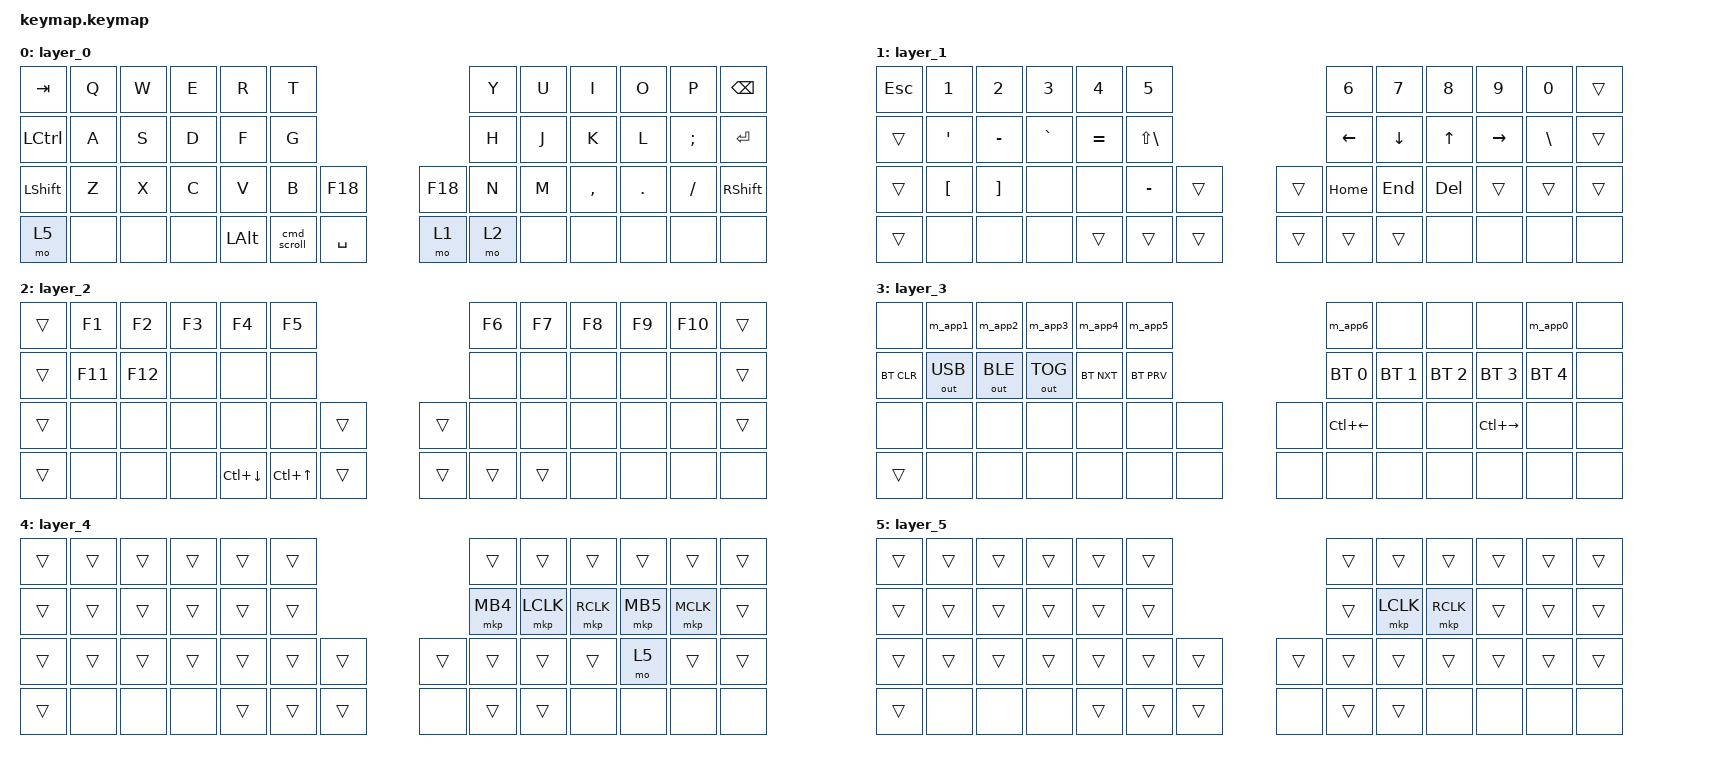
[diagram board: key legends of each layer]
/*
 * torabo-tsuki LP M キーマップ（Cornix LP 移植版・M 専用）
 *
 * 物理レイアウトを M に固定（dtsi の chosen で設定）。
 * バインディングは M の transform に直接対応する 52 キー (4行 × 14列)。
 *
 *   Line 1 (bindings 0-11)   : Q行          12 keys
 *   Line 2 (bindings 12-23)  : A行          12 keys
 *   Line 3 (bindings 24-37)  : Z行 + 内側親指 14 keys (中央2 = 内側親指)
 *   Line 4 (bindings 38-51)  : 親指row     14 keys (中央2 = 内側親指)
 *
 * 親指配置 (Cornix 互換):
 *   左 thumb cluster : 28(LALT) 29(LGUI) 30(SPACE)  ※ 30 が内側
 *   右 thumb cluster : 31(NO)  32(MO1) 33(MO2)      ※ 31 が内側 (トラックボールで省略)
 *   外側下段は全て NO
 *
 * レイヤー:
 *   0: ベース
 *   1: 数字・記号・矢印 (右親指 MO(1))
 *   2: F1-F12 (右親指 MO(2))
 *   3: アプリ切替マクロ + BT/OUT制御 (MO(1)+MO(2) で起動, conditional_layer)
 *   4: マウスレイヤー (トラックボール動作で自動起動, prior-idle 付き)
 *   5: スクロールモード (binding 38 hold = 純scroll / ⌘ hold = Cmd+scroll でズーム等)
 *
 * Layer 4 自動起動の誤作動対策:
 *   zip_temp_layer に require-prior-idle-ms=300 を設定
 *
 * Cmd (⌘) + ball = scroll:
 *   LGUI 位置 (binding 43) を custom macro 'cmd_scroll' に置換。
 *   押すと LGUI 送信 + Layer 5 起動 → ball 動作で Cmd+scroll (Mac でズーム等)。
 *   Cmd+click も維持: Layer 5 に LCLK/RCLK を持たせる。
 */

#include <behaviors.dtsi>
#include <dt-bindings/zmk/bt.h>
#include <dt-bindings/zmk/keys.h>
#include <dt-bindings/zmk/outputs.h>
#include <dt-bindings/zmk/pointing.h>
#include <input/processors.dtsi>
#include <dt-bindings/zmk/input_transform.h>
#include <mouse-gesture.dtsi>
#include <zephyr/dt-bindings/input/input-event-codes.h>

/ {
    // トラックボール動作時に Layer 4 (マウス) を 500ms 自動起動
    // タイムアウト中に再度動作があると延長される
};

// zip_temp_layer の挙動カスタマイズ
//   require-prior-idle-ms = 500:
//     最後のキー入力から 500ms 経過しないと Layer 4 を起動しない
//     → タイピング中のボール接触による意図しない自動起動を防ぐ。
//     300ms では 'kore' 等のタイピング途中に Layer 4 起動 + 後続 K/O が
//     RCLK/Desktop を暴発する問題があったため 500ms に延長。
//   excluded-positions:
//     これらのキー位置を押しても Layer 4 を解除しない
//     → マウス系キー (A行クリック) のみ維持。
//     対象: 18(H/MB4) 19(J/LCLK) 20(K/RCLK) 21(L/MB5) 22(;/MCLK)
//           38(MO5/scroll 起動) 43(LGUI/cmd_scroll 中も Layer 4 維持)
//     旧: 7,8,9 (U/I/O = MC/AppWin/Desktop) も含めていたが、
//         ジェスチャ機能と MO(2)+⌘/Option コードで代替したため Layer 4 から削除済。
//         excluded から外して、Q行は通常タイピングと完全共存。
&zip_temp_layer {
    require-prior-idle-ms = <500>;
    excluded-positions = <18 19 20 21 22 35 38 43>;
};

&pointing_listener {
    // 通常時の処理:
    //   1. X/Y 反転補正 (右側マウント時の物理向き調整)
    //   2. zip_mouse_gesture: K+L combo の hold で gesture 認識
    //      activation 未起動時は pass-through なので通常マウス動作に影響なし
    //   3. トラックボール動作で Layer 4 を 800ms 自動起動 (prior-idle 500ms 適用済)
    //     1500ms → 500ms → 800ms: 500ms だとボール停止後クリック (J) が間に合わず
    //     通常 J が入力される問題が発生したため 800ms に延長。
    //     prior-idle 500ms がキー→ボール方向を守るため 'kore' 暴発は再発しない想定。
    //     トリプルクリックも 500ms 以内に 3 連打で成立。
    //     prior-idle = excluded-positions の組み合わせで、
    //     - タイピング → ボール: 500ms 待つと反応 (誤起動なし)
    //     - ボール → タイピング: 800ms 待てば全文字キー正常
    input-processors =
        <&zip_xy_transform (INPUT_TRANSFORM_X_INVERT | INPUT_TRANSFORM_Y_INVERT)>,
        <&zip_mouse_gesture>,
        <&zip_temp_layer 4 800>;

    // Layer 5 (scroll mode) アクティブ時のオーバーライド処理:
    // - スクロール速度を 1/32 に減速
    //   (CPI 1216 を相殺してスクロール感を CPI 608 + 1/16 と同等に維持)
    // - XY 座標を scroll wheel イベントに変換
    scroller {
        layers = <5>;
        input-processors =
            <&zip_xy_scaler 1 32>,
            <&zip_xy_to_scroll_mapper>;
    };
};

// zmk-mouse-gesture 設定:
//   起動方法: K+L combo (combo_eisu) の hold で gesture 認識
//     combo bindings = &mouse_gesture_kp 0 LANGUAGE_2:
//       short tap → 英数切替 (LANGUAGE_2) ※既存挙動維持
//       hold      → mouse_gesture activate (ジェスチャモード)
//     - combo は両キー同時押し (50ms 以内) 必須なので単独 K/L には影響なし
//     - hold-tap ラグは combo 発火後にのみ発生、通常タイピングへの影響ゼロ
//   enable-eager-mode: 単方向パターン (UP/DOWN/LEFT/RIGHT) は即発火、
//     複合パターン (DOWN+RIGHT 等) は idle-timeout 経過後に判定
//   stroke-size 150: roBa 実績値
&mouse_gesture_kp {
    tapping-term-ms = <150>;
    flavor = "tap-preferred";
};

&zip_mouse_gesture {
    stroke-size = <200>;
    idle-timeout-ms = <150>;
    gesture-cooldown-ms = <500>;
    enable-eager-mode;

    // 基本3方向: Magic Trackpad ライクな OS 制御
    //   (右は意図的に未割当 — 用途未定のため次回検討)
    gesture_up {
        pattern = <GESTURE_UP>;
        bindings = <&kp LC(UP)>;         // Mission Control
    };
    gesture_down {
        pattern = <GESTURE_DOWN>;
        bindings = <&kp F11>;            // デスクトップ表示 (Show Desktop)
    };
    gesture_left {
        pattern = <GESTURE_LEFT>;
        bindings = <&kp LC(DOWN)>;       // App Exposé (現アプリ全ウィンドウ)
    };

    // 2連ストローク: ブラウザ操作
    //   ↓ から左右 = 履歴移動 (戻る/進む)
    //   ↑ から左右 = タブ数の操作 (開く/閉じる)
    //   ※ Layer 4 の H=MB4(戻る) / L=MB5(進む) と共存。慣れた方を使う想定
    gesture_back {
        pattern = <GESTURE_DOWN GESTURE_LEFT>;
        bindings = <&kp LG(LBKT)>;       // ⌘[ ブラウザ「戻る」
    };
    gesture_forward {
        pattern = <GESTURE_DOWN GESTURE_RIGHT>;
        bindings = <&kp LG(RBKT)>;       // ⌘] ブラウザ「進む」
    };
    gesture_new_tab {
        pattern = <GESTURE_UP GESTURE_RIGHT>;
        bindings = <&kp LG(T)>;          // ⌘T 新規タブ
    };
    gesture_close_tab {
        pattern = <GESTURE_UP GESTURE_LEFT>;
        bindings = <&kp LG(W)>;          // ⌘W タブ閉じる
    };
};

/ {
    macros {
        // 左親指 LGUI 位置 (binding 43) 用: Cmd を送信しながら Layer 5 (scroll) を起動。
        // 通常の Cmd 動作 (Cmd+T 等) は維持しつつ、ball を動かすと scroll になる。
        cmd_scroll: cmd_scroll {
            compatible = "zmk,behavior-macro";
            #binding-cells = <0>;
            bindings =
                <&macro_press &kp LGUI &mo 5>,
                <&macro_pause_for_release>,
                <&macro_release &kp LGUI &mo 5>;
        };
        m_app0: macro_app0 {
            compatible = "zmk,behavior-macro";
            #binding-cells = <0>;
            bindings = <&macro_press &kp LGUI &kp LALT>, <&macro_tap &kp N0>, <&macro_release &kp LALT &kp LGUI>;
        };
        m_app1: macro_app1 {
            compatible = "zmk,behavior-macro";
            #binding-cells = <0>;
            bindings = <&macro_press &kp LGUI &kp LALT>, <&macro_tap &kp N1>, <&macro_release &kp LALT &kp LGUI>;
        };
        m_app2: macro_app2 {
            compatible = "zmk,behavior-macro";
            #binding-cells = <0>;
            bindings = <&macro_press &kp LGUI &kp LALT>, <&macro_tap &kp N2>, <&macro_release &kp LALT &kp LGUI>;
        };
        m_app3: macro_app3 {
            compatible = "zmk,behavior-macro";
            #binding-cells = <0>;
            bindings = <&macro_press &kp LGUI &kp LALT>, <&macro_tap &kp N3>, <&macro_release &kp LALT &kp LGUI>;
        };
        m_app4: macro_app4 {
            compatible = "zmk,behavior-macro";
            #binding-cells = <0>;
            bindings = <&macro_press &kp LGUI &kp LALT>, <&macro_tap &kp N4>, <&macro_release &kp LALT &kp LGUI>;
        };
        m_app5: macro_app5 {
            compatible = "zmk,behavior-macro";
            #binding-cells = <0>;
            bindings = <&macro_press &kp LGUI &kp LALT>, <&macro_tap &kp N5>, <&macro_release &kp LALT &kp LGUI>;
        };
        m_app6: macro_app6 {
            compatible = "zmk,behavior-macro";
            #binding-cells = <0>;
            bindings = <&macro_press &kp LGUI &kp LALT>, <&macro_tap &kp N6>, <&macro_release &kp LALT &kp LGUI>;
        };
    };

    combos {
        compatible = "zmk,combos";

        combo_hash {
            timeout-ms = <50>;
            key-positions = <14 15>;  // S + D
            bindings = <&kp LS(N3)>;
            layers = <0>;
        };
        combo_asterisk {
            timeout-ms = <50>;
            key-positions = <15 16>;  // D + F
            bindings = <&kp LS(N8)>;
            layers = <0>;
        };
        // IME 切替コンボは Layer 4 (mouse) でも有効化:
        //   マウス操作直後は Layer 4 が 1500ms 残るが、その間に
        //   IME 切替したいケースが多い (クリック → 入力する文字判断 → 切替)
        combo_kana {
            timeout-ms = <50>;
            key-positions = <19 20>;  // J + K
            bindings = <&kp LANGUAGE_1>;
            layers = <0 4>;
        };
        // K+L combo: tap → 英数切替 (LANGUAGE_2) / hold → ジェスチャモード
        //   &mouse_gesture_kp は hold-tap behavior (<&mouse_gesture>, <&kp>)
        //   short tap で LANGUAGE_2 (英数切替 既存挙動)、long hold で gesture activate
        //   require-prior-idle-ms = 150: 直前のキー入力から 150ms 経たないと combo 認識しない
        //     → タイピング流の中での偶発認識 (Mission Control 暴発の原因) を抑止
        combo_eisu {
            timeout-ms = <50>;
            require-prior-idle-ms = <150>;
            key-positions = <20 21>;  // K + L
            bindings = <&mouse_gesture_kp 0 LANGUAGE_2>;
            layers = <0 4>;
        };
    };

    conditional_layers {
        compatible = "zmk,conditional-layers";
        tri_layer {
            if-layers = <1 2>;
            then-layer = <3>;
        };
    };

    keymap {
        compatible = "zmk,keymap";

        // ========== Layer 0: ベース ==========
        layer_0 {
            bindings = <
// Q行 (0-11): TAB Q W E R T | Y U I O P BSPC
&kp TAB    &kp Q      &kp W      &kp E      &kp R      &kp T                                                      &kp Y      &kp U      &kp I      &kp O      &kp P      &kp BSPC
// A行 (12-23): LCTRL A S D F G | H J K L ; ENTER
&kp LCTRL  &kp A      &kp S      &kp D      &kp F      &kp G                                                      &kp H      &kp J      &kp K      &kp L      &kp SEMI   &kp ENTER
// Z行 (24-37): LSHFT Z X C V B [内親指 30/31=F18] N M , . / RSHFT
//   30 (左内側親指) / 31 (右内側親指) = F18 = Aqua Voice の音声入力キー（v44〜）
//     ※ どちらの親指でも押せるよう左右とも同じキーにした
//     ※ 旧 v41: 30=Ctrl+→ / 31=Ctrl+← のデスクトップ切替。使わないため転用。
//        デスクトップ切替は Layer 3 の N / . に残っている (機能損失なし)
&kp LSHFT  &kp Z      &kp X      &kp C      &kp V      &kp B      &kp F18                    &kp F18            &kp N      &kp M      &kp COMMA  &kp DOT    &kp FSLH   &kp RSHFT
// 親指row (38-51): MO(5) NO×3 LALT cmd_scroll SPACE | MO(1) MO(2) NO×5
//   38 = 左下最外側 = MO(5) 純スクロール起動 (Cmd 無し)
//     → FigJam パン操作・ブラウザ縦スクロール等、Cmd+scroll=ズーム を避けたい場面用
//   43 = LGUI 位置 = cmd_scroll (LGUI 送信 + Layer 5 起動の合体 behavior)
//     → Cmd+scroll で Mac ズーム / Google Sheets 横スクロール等
//   45 (右親指 内側、トラックボール寄り) = MO(1) Layer 1 起動
//   46 (右親指 外側) = MO(2) Layer 2 起動
//   47 は物理キー無し
//   Layer 4 はトラックボール動作で自動起動 (prior-idle 500ms 付き)
&mo 5      &none      &none      &none      &kp LALT   &cmd_scroll  &kp SPACE                &mo 1              &mo 2      &none      &none      &none      &none      &none
            >;
        };

        // ========== Layer 1: 数字・記号・矢印 (MO(1)) ==========
        layer_1 {
            bindings = <
// Q行: ESC 1-5 | 6-0 trans
&kp ESC    &kp N1     &kp N2     &kp N3     &kp N4     &kp N5                                                     &kp N6     &kp N7     &kp N8     &kp N9     &kp N0     &trans
// A行: trans ' - ` = LS(\) | LEFT DOWN UP RIGHT \ trans
&trans     &kp SQT    &kp MINUS  &kp GRAVE  &kp EQUAL  &kp LS(BSLH)                                               &kp LEFT   &kp DOWN   &kp UP     &kp RIGHT  &kp BSLH   &trans
// Z行: trans [ ] none none - [trans×2] HOME END DEL trans trans trans
&trans     &kp LBKT   &kp RBKT   &none      &none      &kp MINUS  &trans                     &trans             &kp HOME   &kp END    &kp DEL    &trans     &trans     &trans
// 親指row: 38=trans(MO(5)継承 = 純スクロール)
&trans     &none      &none      &none      &trans     &trans     &trans                     &trans             &trans     &trans     &none      &none      &none      &none
            >;
        };

        // ========== Layer 2: F1-F12 (MO(2)) ==========
        layer_2 {
            bindings = <
// Q行: trans F1-F5 | F6-F10 trans
&trans     &kp F1     &kp F2     &kp F3     &kp F4     &kp F5                                                     &kp F6     &kp F7     &kp F8     &kp F9     &kp F10    &trans
// A行: trans F11 F12 ...
&trans     &kp F11    &kp F12    &none      &none      &none                                                      &none      &none      &none      &none      &none      &trans
// Z行: trans throughout
&trans     &none      &none      &none      &none      &none      &trans                     &trans             &none      &none      &none      &none      &none      &trans
// 親指row: 38=trans(MO(5)継承 = 純スクロール) / 42=AppWin (Option+MO(2)) / 43=MissionControl (Cmd+MO(2))
//   MO(2) hold 中に左親指 LALT 位置 → アプリケーションウィンドウ (Ctrl+↓)
//   MO(2) hold 中に左親指 LGUI 位置 → Mission Control (Ctrl+↑)
&trans     &none      &none      &none      &kp LC(DOWN) &kp LC(UP) &trans                    &trans             &trans     &trans     &none      &none      &none      &none
            >;
        };

        // ========== Layer 3: アプリ切替 + BT/OUT制御 (MO(1)+MO(2)) ==========
        layer_3 {
            bindings = <
// Q行: NO M1 M2 M3 M4 M5 | M6 NO NO NO M0 NO  (アプリ切替マクロ)
&none         &m_app1       &m_app2       &m_app3       &m_app4       &m_app5                                                                  &m_app6       &none         &none         &none         &m_app0       &none
// A行: BT_CLR OUT_USB OUT_BLE OUT_TOG BT_NXT BT_PRV | BT_SEL0 BT_SEL1 BT_SEL2 BT_SEL3 BT_SEL4 NO
&bt BT_CLR    &out OUT_USB  &out OUT_BLE  &out OUT_TOG  &bt BT_NXT    &bt BT_PRV                                                               &bt BT_SEL 0  &bt BT_SEL 1  &bt BT_SEL 2  &bt BT_SEL 3  &bt BT_SEL 4  &none
// Z行: 右 N=Ctrl+← (Desk左) M=trans ,=trans .=Ctrl+→ (Desk右)
&none         &none         &none         &none         &none         &none         &none                                       &none           &kp LC(LEFT)  &none         &none         &kp LC(RIGHT) &none         &none
// 親指row: 38=trans(MO(5)継承 = 純スクロール) 残り none
&trans        &none         &none         &none         &none         &none         &none                                       &none           &none         &none         &none         &none         &none         &none
            >;
        };

        // ========== Layer 4: マウス (トラックボール動作時に自動起動) ==========
        // 右手集約配置:
        //   H (人差指 内側) = MB4 = ブラウザ「戻る」
        //   J (人差指 home) = LCLK
        //   K (中指 home)   = RCLK
        //   L (薬指 home)   = MB5 = ブラウザ「進む」
        //   ; (小指 home)   = MCLK
        // 左手は trans でタイピング継続可能
        layer_4 {
            bindings = <
// Q行: 全 trans
//   以前 U=MissionCtrl, I=AppWindows, O=ShowDesktop だったが、
//   - Mission Control はジェスチャ (↑系) に移行済
//   - AppWindows はジェスチャ＋MO(2)+Option コードに移行済
//   - タイピング暴発の元凶になっていた (例: 'hira' で i=AppWindows が発火)
//   → 重複かつ暴発元なので削除、全 trans に
&trans     &trans     &trans     &trans     &trans     &trans                                                     &trans     &trans     &trans     &trans     &trans     &trans
// A行: 右手 H=MB4(戻) J=LCLK K=RCLK L=MB5(進) ;=MCLK ENT=trans
&trans     &trans     &trans     &trans     &trans     &trans                                                     &mkp MB4   &mkp LCLK   &mkp RCLK    &mkp MB5       &mkp MCLK  &trans
// Z行: . (binding 35) のみ MO(5) でスクロール起動 / 他 trans
//   マウスモード中だけ '.' 位置を右薬指 hold で scroll mode 起動
//   → 右手だけでスクロール完結 (左手の 38 / ⌘ 起動と併用可)
//   タイピング時の '.' は Layer 0 で通常通り動作
&trans     &trans     &trans     &trans     &trans     &trans     &trans                     &trans             &trans     &trans     &trans     &mo 5      &trans     &trans
// 親指row: 38=trans(MO(5)継承 = 純スクロール) / LGUI=trans (Cmd+click 用)
//   Layer 4 中に 38 を再 tap すれば自分自身が toggle されて Layer 4 OFF
&trans     &none      &none      &none      &trans     &trans     &trans                     &none              &trans     &trans     &none      &none      &none      &none
            >;
        };

        // ========== Layer 5: スクロールモード ==========
        // cmd_scroll (LGUI hold) で起動 → Cmd+scroll = Mac ズーム動作。
        // pointing_listener が ball 動作を scroll wheel に変換 (zip_xy_to_scroll_mapper)。
        // Cmd+click 経由でも click が機能するよう J=LCLK / K=RCLK を持たせる。
        layer_5 {
            bindings = <
&trans     &trans     &trans     &trans     &trans     &trans                                                     &trans     &trans     &trans     &trans     &trans     &trans
// A行: J=LCLK, K=RCLK (Cmd+click 用)
&trans     &trans     &trans     &trans     &trans     &trans                                                     &trans     &mkp LCLK  &mkp RCLK  &trans     &trans     &trans
&trans     &trans     &trans     &trans     &trans     &trans     &trans                     &trans             &trans     &trans     &trans     &trans     &trans     &trans
&trans     &none      &none      &none      &trans     &trans     &trans                     &none              &trans     &trans     &none      &none      &none      &none
            >;
        };
    };
};
